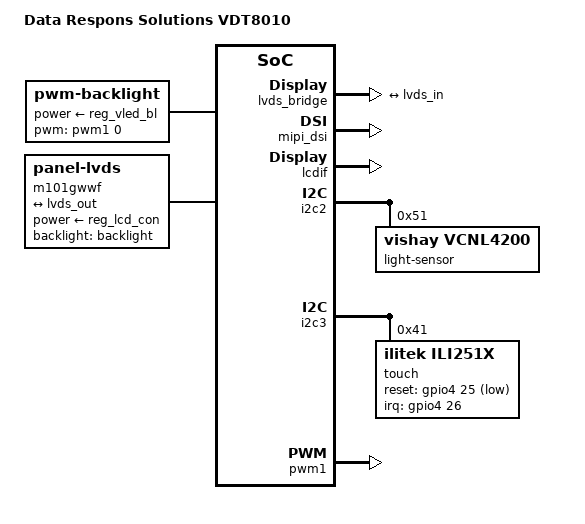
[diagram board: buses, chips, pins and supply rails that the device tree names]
// SPDX-License-Identifier: (GPL-2.0+ OR MIT)
/*
 * Copyright 2021 Data Respons Solutions AB
 */

/dts-v1/;

#include "sdb8000.dts"

/ {
	model = "Data Respons Solutions VDT8010";

	backlight: backlight {
		compatible = "pwm-backlight";
		pwms = <&pwm1 0 66666 0>; /* ~15KHz */
        brightness-levels = <0 26 40 50 60 70 80 90 100 120 150 180 210 255>;
		default-brightness-level = <14>;
		power-supply = <&reg_vled_bl>;
	};

	panel_lvds: m101gwwf {
		compatible = "panel-lvds";
		pinctrl-names = "default";
		pinctrl-0 = <&pinctrl_panel>;
		label = "m101gwwf";
		data-mapping = "vesa-24";
		width-mm = <217>;
		height-mm = <136>;
		power-supply = <&reg_lcd_con>;
		backlight = <&backlight>;

		panel-timing {
			clock-frequency = <70000000 72400000 76600000>;
			hactive = <1280>;
			vactive = <800>;
			/* Even through panel operates without horizontal and vertical sync pulses
			 * then the lcdif or dsim controller require sync pulses to output video
			 * frames. We add 8 {v,h}sync-len bits and subtract same value from {v,h}back-porch. */
			hfront-porch = <42 72 102>;
			hback-porch =  <80 80 80>;
			hsync-len =    <8  8  8>;
			vfront-porch = <5  15 45>;
			vback-porch =  <15 15 15>;
			vsync-len =    <8  8  8>;
			de-active = <1>;
		};
		port {
			lvds_in: endpoint {
				remote-endpoint = <&lvds_out>;
			};
		};
	};
};

&lvds_bridge {
	ports {
		port@2 {
			reg = <2>;
			lvds_out: endpoint {
				remote-endpoint = <&lvds_in>;
			};
		};
	};
};

&mipi_dsi {
	status = "okay";
};

&lcdif {
	status = "okay";
};

&i2c2 {
	light-sensor@51 {
		compatible = "vishay,vcnl4200";
		reg = <0x51>;
		proximity-near-level = <25>;
	};
};

&i2c3 {
	status = "okay";

	touch: ili2511@41 {
    	compatible = "ilitek,ili251x";
		pinctrl-names = "default";
		pinctrl-0 = <&pinctrl_touch>;
    	reg = <0x41>;
    	interrupt-parent = <&gpio4>;
    	interrupts = <26 IRQ_TYPE_EDGE_FALLING>;
    	reset-gpios = <&gpio4 25 GPIO_ACTIVE_LOW>;
	};
};

&usdhc1 {
	status = "disabled";
};

&pwm1 {
	status = "okay";
};

&uart1 {
	status = "disabled";
};

&fec1 {
	status = "disabled";
};
